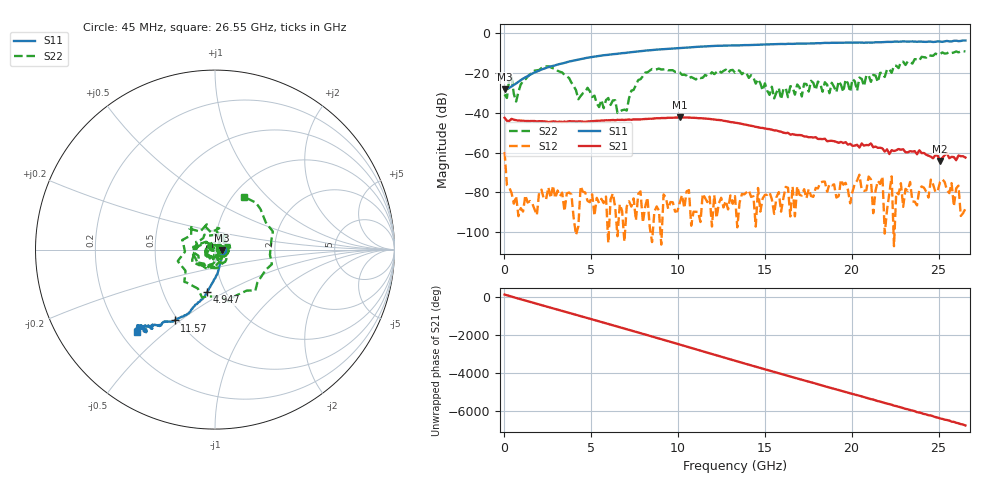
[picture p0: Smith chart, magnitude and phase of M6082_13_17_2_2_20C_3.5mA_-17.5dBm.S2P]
!  2-Port S-parameters saved by WinCal
! VAR MeasName=S-Parameters (CALIBRATED_DATA) read from VNA (C)
! VAR MeasDate=10/16/2015 1:44:12 PM
! VAR NAME=M6082_13_17_2_2_20C_3.5mA_-17.5dBm
! VAR FILENAME=M6082_13_17_2_2_20C_3.5mA_-17.5dBm.S2P
! VAR DATE=10/16/2015 1:44:12 PM
! VAR PHYS_PORTS=2,1
! VAR ObjTypeName=DATASET
! VAR IndexType=Frequency
# Hz S RI R 50
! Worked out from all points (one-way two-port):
!   201 points, 45 MHz to 26.55 GHz, reference 50 ohm
!   highest |S21| = -42.43 dB at 10.12 GHz (marker M1); lowest = -64.2 dB at 25.09 GHz (marker M2)
!   lowest |S11| = -28.4 dB at 45 MHz (marker M3), VSWR 1.08, Z = 53.9 - j0.238 ohm
!   |S11| at or under -10 dB: start of sweep to 7.134 GHz
!   |S22| runs from -40.2 to -9.2 dB; largest |S21 - S12| = 0.0076
!   S11 on the Smith chart (normalised r, x): 45 MHz: 1.08, -0.00; 4.947 GHz: 0.82, -0.41; 11.57 GHz: 0.48, -0.48; 26.55 GHz: 0.26, -0.41
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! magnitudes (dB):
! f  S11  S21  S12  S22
! 45 MHz  -28.4  -42.6  -59.7  -31.0
! 177.5 MHz  -28.1  -44.1  -76.3  -32.7
! 442.5 MHz  -27.0  -43.2  -80.1  -22.4
! 707.5 MHz  -25.4  -43.9  -81.8  -34.5
! 2.43 GHz  -17.7  -44.5  -83.3  -16.9
! 4.55 GHz  -13.0  -44.6  -79.6  -30.3
! 4.947 GHz  -12.4  -44.4  -84.9  -29.3
! 7.067 GHz  -10.1  -43.6  -86.9  -39.0
! 7.73 GHz  -9.4  -43.4  -80.7  -23.7
! 8.922 GHz  -8.5  -42.9  -89.1  -18.0
! 10.12 GHz  -7.7  -42.4  -85.2  -19.9
! 11.57 GHz  -6.9  -43.0  -82.8  -21.2
! 13.29 GHz  -6.4  -45.0  -81.9  -20.1
! 15.95 GHz  -5.7  -49.6  -89.6  -33.4
! 17.8 GHz  -5.4  -52.5  -82.2  -25.2
! 19.92 GHz  -5.0  -55.7  -85.4  -29.7
! 20.45 GHz  -4.9  -57.5  -71.1  -22.5
! 22.17 GHz  -4.6  -60.8  -80.4  -18.3
! 22.3 GHz  -4.6  -58.8  -71.9  -20.1
! 22.44 GHz  -4.5  -59.3  -106.9  -16.5
! 25.09 GHz  -4.5  -64.2  -74.8  -10.8
! 26.55 GHz  -3.9  -62.5  -88.1  -9.5
